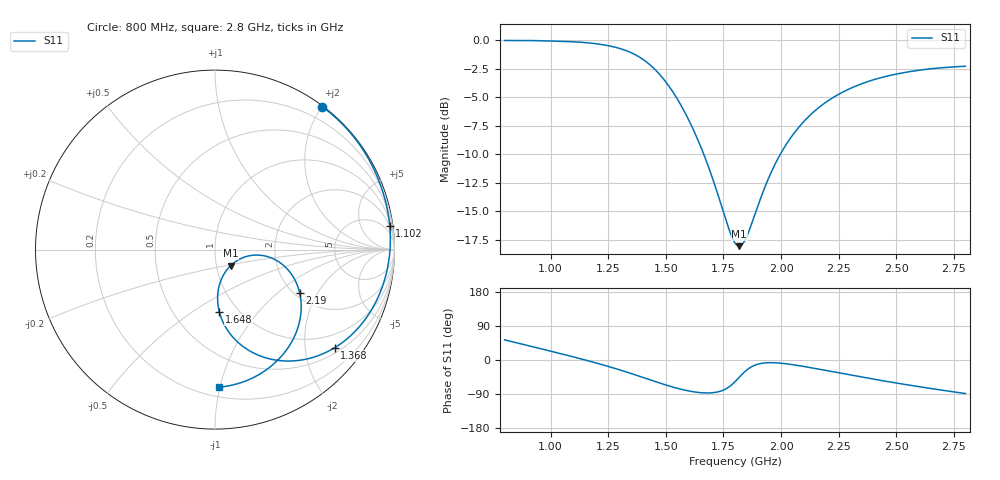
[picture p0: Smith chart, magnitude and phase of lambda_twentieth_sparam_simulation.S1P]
! TOUCHSTONE file generated by CST MICROWAVE STUDIO
! Date and time: Wed Jan 17 02:03:32 2024
! Project name: DiskLoadedMonopoleTwentiethLambda.cst
! Parameters = {AirCoaxRadius=1.5; DiskRadius=20; DiskThickness=4.7; DropWireDistance=19.4; DropWireRadius=0.6; GroundRadius=100; GroundThickness=5.6; lambdaTwenthieth=8.3}
! Header version: 2018
! Port assignment regex: !\s*Touchstone port\s*([0-9]+)\s*=\s*(CST MWS port|CST DS port)\s*([0-9]+|Zmin|Zmax)\s*\(\"(.*)\"\)(\s*mode\s*([0-9]+))?.*
! Touchstone port assignment:
! Touchstone port 1 = CST MWS port 1 ("")
# GHz S DB R 50
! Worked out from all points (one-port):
!   1001 points, 800 MHz to 2.8 GHz, reference 50 ohm
!   lowest |S11| = -18.1 dB at 1.818 GHz (marker M1), VSWR 1.29, Z = 58.5 - j10.6 ohm
!   |S11| at or under -10 dB: 1.664 GHz to 1.997 GHz (333 MHz wide, 18.2 % of centre)
!   S11 on the Smith chart (normalised r, x): 800 MHz: 0.01, +2.00; 1.102 GHz: 2, +15; 1.368 GHz: 0.63, -2.66; 1.648 GHz: 0.82, -0.65; 2.19 GHz: 2.13, -1.43; 2.8 GHz: 0.27, -0.99
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0.8  -0.04 53.1
0.86  -0.03 44.3
0.934  -0.05 33.2
1.05  -0.11 15.8
1.102  -0.15 7.7
1.204  -0.34 -9.0
1.3  -0.74 -26.1
1.368  -1.29 -39.4
1.414  -1.89 -48.8
1.456  -2.64 -57.3
1.5  -3.68 -65.9
1.55  -5.18 -74.7
1.598  -6.96 -81.5
1.648  -9.19 -86.1
1.72  -13.19 -84.9
1.774  -16.60 -71.0
1.8  -17.80 -57.3
1.818  -18.08 -45.9
1.852  -17.19 -25.9
1.932  -12.78 -7.6
1.988  -10.34 -7.9
2.052  -8.28 -12.5
2.19  -5.52 -27.1
2.3  -4.25 -39.5
2.412  -3.42 -51.7
2.55  -2.80 -65.7
2.672  -2.47 -77.3
2.8  -2.29 -88.5
